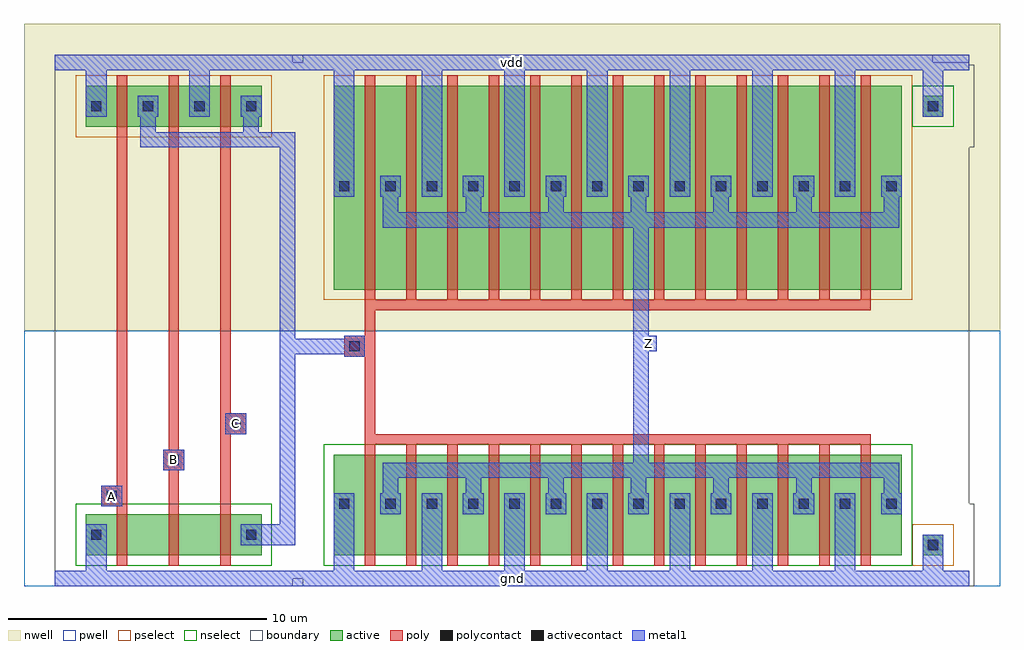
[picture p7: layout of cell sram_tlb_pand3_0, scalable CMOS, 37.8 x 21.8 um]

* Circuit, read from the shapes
.subckt sram_tlb_pand3_0 A B C Z gnd vdd
M1 sram_tlb_pnand3_0_0/sram_tlb_nmos_m1_w1_600_sm1_dactive_3/D A gnd gnd nfet w=1.6u l=0.4u
M2 sram_tlb_pnand3_0_0/sram_tlb_nmos_m1_w1_600_sactive_dactive_4/D B sram_tlb_pnand3_0_0/sram_tlb_nmos_m1_w1_600_sm1_dactive_3/D gnd nfet w=1.6u l=0.4u
M3 sram_tlb_pdriver_3_1/A C sram_tlb_pnand3_0_0/sram_tlb_nmos_m1_w1_600_sactive_dactive_4/D gnd nfet w=1.6u l=0.4u
M4 Z sram_tlb_pdriver_3_1/A gnd gnd nfet w=3.9u l=0.4u m=13
M5 sram_tlb_pdriver_3_1/A A vdd vdd pfet w=1.6u l=0.4u
M6 vdd B sram_tlb_pdriver_3_1/A vdd pfet w=1.6u l=0.4u
M7 sram_tlb_pdriver_3_1/A C vdd vdd pfet w=1.6u l=0.4u
M8 Z sram_tlb_pdriver_3_1/A vdd vdd pfet w=7.9u l=0.4u m=13
.ends

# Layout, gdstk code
import gdstk
lib = gdstk.Library(unit=1e-6, precision=1e-09)
def R(c, l, rs):  # rectangles x0, y0, x1, y1
    for r in rs: c.add(gdstk.rectangle(r[:2], r[2:], *l))
def A(c, l, x, y, w, h, nx, ny, dx, dy):  # array of equal rectangles
    R(c, l, [(x+i*dx, y+j*dy, x+i*dx+w, y+j*dy+h) for i in range(nx) for j in range(ny)])
pwell = (41, 0)
nwell = (42, 0)
active = (43, 0)
pselect = (44, 0)
nselect = (45, 0)
poly = (46, 0)
polycontact = (47, 0)
activecontact = (48, 0)
metal1 = (49, 0)
boundary = (63, 0)

sram_tlb_contact_11 = lib.new_cell('sram_tlb_contact_11')
R(sram_tlb_contact_11, nwell, [(-1.2,-1.2,2,2)])
R(sram_tlb_contact_11, active, [(0,0,0.8,0.8)])
R(sram_tlb_contact_11, pselect, [(-0.4,-0.4,1.2,1.2)])
R(sram_tlb_contact_11, activecontact, [(0.2,0.2,0.6,0.6)])
R(sram_tlb_contact_11, metal1, [(0,0,0.8,0.8)])
R(sram_tlb_contact_11, boundary, [(-1.2,-1.2,2,2)])

sram_tlb_pmos_m1_w1_600_ = lib.new_cell('sram_tlb_pmos_m1_w1_600_sm1_dm1')
R(sram_tlb_pmos_m1_w1_600_, nwell, [(-1.2,-1.2,4,2.8)])
R(sram_tlb_pmos_m1_w1_600_, active, [(0,0,2.8,1.6)])
R(sram_tlb_pmos_m1_w1_600_, pselect, [(-0.4,-0.4,3.2,2)])
R(sram_tlb_pmos_m1_w1_600_, poly, [(1.2,-0.4,1.6,2), (1.2,-0.4,1.6,2)])
R(sram_tlb_pmos_m1_w1_600_, metal1, [(0,0.4,0.8,1.2), (2,0.4,2.8,1.2)])
R(sram_tlb_pmos_m1_w1_600_, boundary, [(-1.2,-1.2,4,2.8)])
sram_tlb_pmos_m1_w1_600_.add(gdstk.Reference(sram_tlb_contact_11, (0,0.4)))
sram_tlb_pmos_m1_w1_600_.add(gdstk.Reference(sram_tlb_contact_11, (2,0.4)))
sram_tlb_pmos_m1_w1_600_.add(gdstk.Label('G', (1.4,0.8), layer=46, texttype=0))
sram_tlb_pmos_m1_w1_600_.add(gdstk.Label('S', (0.4,0.8), layer=49, texttype=0))
sram_tlb_pmos_m1_w1_600_.add(gdstk.Label('D', (2.4,0.8), layer=49, texttype=0))

sram_tlb_contact_10 = lib.new_cell('sram_tlb_contact_10')
R(sram_tlb_contact_10, pwell, [(-1.2,-1.2,2,2)])
R(sram_tlb_contact_10, active, [(0,0,0.8,0.8)])
R(sram_tlb_contact_10, nselect, [(-0.4,-0.4,1.2,1.2)])
R(sram_tlb_contact_10, activecontact, [(0.2,0.2,0.6,0.6)])
R(sram_tlb_contact_10, metal1, [(0,0,0.8,0.8)])
R(sram_tlb_contact_10, boundary, [(-1.2,-1.2,2,2)])

sram_tlb_nmos_m1_w1_600_ = lib.new_cell('sram_tlb_nmos_m1_w1_600_sm1_dactive')
R(sram_tlb_nmos_m1_w1_600_, pwell, [(-1.2,-1.2,4,2.8)])
R(sram_tlb_nmos_m1_w1_600_, active, [(0,0,2.8,1.6), (2.1,0.5,2.7,1.1)])
R(sram_tlb_nmos_m1_w1_600_, nselect, [(-0.4,-0.4,3.2,2)])
R(sram_tlb_nmos_m1_w1_600_, poly, [(1.2,-0.4,1.6,2), (1.2,-0.4,1.6,2)])
R(sram_tlb_nmos_m1_w1_600_, metal1, [(0,0.4,0.8,1.2)])
R(sram_tlb_nmos_m1_w1_600_, boundary, [(-1.2,-1.2,4,2.8)])
sram_tlb_nmos_m1_w1_600_.add(gdstk.Reference(sram_tlb_contact_10, (0,0.4)))
sram_tlb_nmos_m1_w1_600_.add(gdstk.Label('G', (1.4,0.8), layer=46, texttype=0))
sram_tlb_nmos_m1_w1_600_.add(gdstk.Label('S', (0.4,0.8), layer=49, texttype=0))
sram_tlb_nmos_m1_w1_600_.add(gdstk.Label('D', (2.4,0.8), layer=43, texttype=0))

c_sram_tlb_nmos_m1_w1_600_ = lib.new_cell('sram_tlb_nmos_m1_w1_600_sactive_dactive')
R(c_sram_tlb_nmos_m1_w1_600_, pwell, [(-1.2,-1.2,4,2.8)])
R(c_sram_tlb_nmos_m1_w1_600_, active, [(0,0,2.8,1.6), (0.1,0.5,0.7,1.1), (2.1,0.5,2.7,1.1)])
R(c_sram_tlb_nmos_m1_w1_600_, nselect, [(-0.4,-0.4,3.2,2)])
R(c_sram_tlb_nmos_m1_w1_600_, poly, [(1.2,-0.4,1.6,2), (1.2,-0.4,1.6,2)])
R(c_sram_tlb_nmos_m1_w1_600_, boundary, [(-1.2,-1.2,4,2.8)])
c_sram_tlb_nmos_m1_w1_600_.add(gdstk.Label('G', (1.4,0.8), layer=46, texttype=0))
c_sram_tlb_nmos_m1_w1_600_.add(gdstk.Label('S', (0.4,0.8), layer=43, texttype=0))
c_sram_tlb_nmos_m1_w1_600_.add(gdstk.Label('D', (2.4,0.8), layer=43, texttype=0))

c_sram_tlb_nmos_m1_w1_600__ = lib.new_cell('sram_tlb_nmos_m1_w1_600_sactive_dm1')
R(c_sram_tlb_nmos_m1_w1_600__, pwell, [(-1.2,-1.2,4,2.8)])
R(c_sram_tlb_nmos_m1_w1_600__, active, [(0,0,2.8,1.6), (0.1,0.5,0.7,1.1)])
R(c_sram_tlb_nmos_m1_w1_600__, nselect, [(-0.4,-0.4,3.2,2)])
R(c_sram_tlb_nmos_m1_w1_600__, poly, [(1.2,-0.4,1.6,2), (1.2,-0.4,1.6,2)])
R(c_sram_tlb_nmos_m1_w1_600__, metal1, [(2,0.4,2.8,1.2)])
R(c_sram_tlb_nmos_m1_w1_600__, boundary, [(-1.2,-1.2,4,2.8)])
c_sram_tlb_nmos_m1_w1_600__.add(gdstk.Reference(sram_tlb_contact_10, (2,0.4)))
c_sram_tlb_nmos_m1_w1_600__.add(gdstk.Label('G', (1.4,0.8), layer=46, texttype=0))
c_sram_tlb_nmos_m1_w1_600__.add(gdstk.Label('S', (0.4,0.8), layer=43, texttype=0))
c_sram_tlb_nmos_m1_w1_600__.add(gdstk.Label('D', (2.4,0.8), layer=49, texttype=0))

sram_tlb_contact_14 = lib.new_cell('sram_tlb_contact_14')
R(sram_tlb_contact_14, poly, [(0,0,0.8,0.8)])
R(sram_tlb_contact_14, polycontact, [(0.2,0.2,0.6,0.6)])
R(sram_tlb_contact_14, metal1, [(0,0,0.8,0.8)])
R(sram_tlb_contact_14, boundary, [(0,0,0.8,0.8)])

sram_tlb_pnand3_0 = lib.new_cell('sram_tlb_pnand3_0')
R(sram_tlb_pnand3_0, pwell, [(-1.2,-0.3,10.8,9.6)])
R(sram_tlb_pnand3_0, nwell, [(-1.2,9.6,10.8,21.5)])
A(sram_tlb_pnand3_0, poly, 2.4, 2.9, 0.4, 14.2, 3, 1, 2, 0)
R(sram_tlb_pnand3_0, poly, [(2.2,2.8,2.4,3.6), (4.4,4.2,4.6,5), (6.4,5.6,7,6.4)])
R(sram_tlb_pnand3_0, metal1, [(0,-0.3,9.6,0.3), (1.2,-0.3,2,1.3), (7.6,1.3,9,2.1), (8.7,1.3,9.3,17), (1.8,2.8,2.6,3.6), (4.2,4.2,5,5), (6.6,5.6,7.4,6.4), (3.3,16.7,3.9,17.3), (3.6,16.7,9,17.3), (7.3,16.7,7.9,17.3), (7.6,16.7,9,17.3), (8.7,16.7,9.3,17.3), (3.3,17,3.9,18.3), (7.3,17,7.9,18.3), (1.2,17.9,2,20.3), (5.2,17.9,6,20.3), (0,19.7,9.6,20.3)])
R(sram_tlb_pnand3_0, boundary, [(0,0,9.6,20), (0,0,9.6,20)])
sram_tlb_pnand3_0.add(gdstk.Reference(sram_tlb_pmos_m1_w1_600_, (1.2,17.5)))
sram_tlb_pnand3_0.add(gdstk.Reference(sram_tlb_pmos_m1_w1_600_, (3.2,17.5)))
sram_tlb_pnand3_0.add(gdstk.Reference(sram_tlb_pmos_m1_w1_600_, (5.2,17.5)))
sram_tlb_pnand3_0.add(gdstk.Reference(sram_tlb_nmos_m1_w1_600_, (1.2,0.9)))
sram_tlb_pnand3_0.add(gdstk.Reference(c_sram_tlb_nmos_m1_w1_600_, (3.2,0.9)))
sram_tlb_pnand3_0.add(gdstk.Reference(c_sram_tlb_nmos_m1_w1_600__, (5.2,0.9)))
sram_tlb_pnand3_0.add(gdstk.Reference(sram_tlb_contact_14, (1.8,2.8)))
sram_tlb_pnand3_0.add(gdstk.Reference(sram_tlb_contact_14, (4.2,4.2)))
sram_tlb_pnand3_0.add(gdstk.Reference(sram_tlb_contact_14, (6.6,5.6)))
sram_tlb_pnand3_0.add(gdstk.Label('A', (2.2,3.2), layer=49, texttype=0))
sram_tlb_pnand3_0.add(gdstk.Label('B', (4.6,4.6), layer=49, texttype=0))
sram_tlb_pnand3_0.add(gdstk.Label('C', (7,6), layer=49, texttype=0))
sram_tlb_pnand3_0.add(gdstk.Label('Z', (9,17), layer=49, texttype=0))
sram_tlb_pnand3_0.add(gdstk.Label('gnd', (4.8,0), layer=49, texttype=0))
sram_tlb_pnand3_0.add(gdstk.Label('vdd', (4.8,20), layer=49, texttype=0))

sram_tlb_pmos_m13_w7_900 = lib.new_cell('sram_tlb_pmos_m13_w7_900_sm1_dm1_da_p')
R(sram_tlb_pmos_m13_w7_900, nwell, [(-1.2,-1.2,23.2,9.1)])
R(sram_tlb_pmos_m13_w7_900, active, [(0,0,22,7.9)])
R(sram_tlb_pmos_m13_w7_900, pselect, [(-0.4,-0.4,22.4,8.3)])
A(sram_tlb_pmos_m13_w7_900, poly, 1.2, -0.4, 0.4, 8.7, 13, 1, 1.6, 0)
R(sram_tlb_pmos_m13_w7_900, poly, [(1.2,-0.8,20.8,-0.4)])
A(sram_tlb_pmos_m13_w7_900, metal1, 1.9, 2.6, 0.6, 1.4, 6, 1, 3.2, 0)
A(sram_tlb_pmos_m13_w7_900, metal1, 3.4, 3.6, 0.8, 0.8, 6, 1, 3.2, 0)
R(sram_tlb_pmos_m13_w7_900, metal1, [(1.9,2.4,21.9,3), (21.3,2.6,21.9,4), (0,3.6,0.8,4.4)])
R(sram_tlb_pmos_m13_w7_900, boundary, [(-1.2,-1.2,23.2,9.1)])
sram_tlb_pmos_m13_w7_900.add(gdstk.Reference(sram_tlb_contact_11, (0,3.6)))
sram_tlb_pmos_m13_w7_900.add(gdstk.Reference(sram_tlb_contact_11, (1.8,3.6)))
sram_tlb_pmos_m13_w7_900.add(gdstk.Reference(sram_tlb_contact_11, (3.4,3.6)))
sram_tlb_pmos_m13_w7_900.add(gdstk.Reference(sram_tlb_contact_11, (5,3.6)))
sram_tlb_pmos_m13_w7_900.add(gdstk.Reference(sram_tlb_contact_11, (6.6,3.6)))
sram_tlb_pmos_m13_w7_900.add(gdstk.Reference(sram_tlb_contact_11, (8.2,3.6)))
sram_tlb_pmos_m13_w7_900.add(gdstk.Reference(sram_tlb_contact_11, (9.8,3.6)))
sram_tlb_pmos_m13_w7_900.add(gdstk.Reference(sram_tlb_contact_11, (11.4,3.6)))
sram_tlb_pmos_m13_w7_900.add(gdstk.Reference(sram_tlb_contact_11, (13,3.6)))
sram_tlb_pmos_m13_w7_900.add(gdstk.Reference(sram_tlb_contact_11, (14.6,3.6)))
sram_tlb_pmos_m13_w7_900.add(gdstk.Reference(sram_tlb_contact_11, (16.2,3.6)))
sram_tlb_pmos_m13_w7_900.add(gdstk.Reference(sram_tlb_contact_11, (17.8,3.6)))
sram_tlb_pmos_m13_w7_900.add(gdstk.Reference(sram_tlb_contact_11, (19.4,3.6)))
sram_tlb_pmos_m13_w7_900.add(gdstk.Reference(sram_tlb_contact_11, (21.2,3.6)))
sram_tlb_pmos_m13_w7_900.add(gdstk.Label('G', (11,-0.6), layer=46, texttype=0))
sram_tlb_pmos_m13_w7_900.add(gdstk.Label('S', (16.6,4), layer=49, texttype=0))
sram_tlb_pmos_m13_w7_900.add(gdstk.Label('S', (3.8,4), layer=49, texttype=0))
sram_tlb_pmos_m13_w7_900.add(gdstk.Label('S', (13.4,4), layer=49, texttype=0))
sram_tlb_pmos_m13_w7_900.add(gdstk.Label('S', (19.8,4), layer=49, texttype=0))
sram_tlb_pmos_m13_w7_900.add(gdstk.Label('S', (0.4,4), layer=49, texttype=0))
sram_tlb_pmos_m13_w7_900.add(gdstk.Label('S', (10.2,4), layer=49, texttype=0))
sram_tlb_pmos_m13_w7_900.add(gdstk.Label('S', (7,4), layer=49, texttype=0))
sram_tlb_pmos_m13_w7_900.add(gdstk.Label('D', (11.9,2.7), layer=49, texttype=0))

sram_tlb_nmos_m13_w3_900 = lib.new_cell('sram_tlb_nmos_m13_w3_900_sm1_dm1_da_p')
R(sram_tlb_nmos_m13_w3_900, pwell, [(-1.2,-1.2,23.2,5.1)])
R(sram_tlb_nmos_m13_w3_900, active, [(0,0,22,3.9)])
R(sram_tlb_nmos_m13_w3_900, nselect, [(-0.4,-0.4,22.4,4.3)])
A(sram_tlb_nmos_m13_w3_900, poly, 1.2, -0.4, 0.4, 4.7, 13, 1, 1.6, 0)
R(sram_tlb_nmos_m13_w3_900, poly, [(1.2,4.3,20.8,4.7)])
A(sram_tlb_nmos_m13_w3_900, metal1, 3.4, 1.6, 0.8, 0.8, 6, 1, 3.2, 0)
A(sram_tlb_nmos_m13_w3_900, metal1, 1.9, 2, 0.6, 1.2, 6, 1, 3.2, 0)
R(sram_tlb_nmos_m13_w3_900, metal1, [(0,1.6,0.8,2.4), (21.3,2,21.9,3.2), (1.9,3,21.9,3.6)])
R(sram_tlb_nmos_m13_w3_900, boundary, [(-1.2,-1.2,23.2,5.1)])
sram_tlb_nmos_m13_w3_900.add(gdstk.Reference(sram_tlb_contact_10, (0,1.6)))
sram_tlb_nmos_m13_w3_900.add(gdstk.Reference(sram_tlb_contact_10, (1.8,1.6)))
sram_tlb_nmos_m13_w3_900.add(gdstk.Reference(sram_tlb_contact_10, (3.4,1.6)))
sram_tlb_nmos_m13_w3_900.add(gdstk.Reference(sram_tlb_contact_10, (5,1.6)))
sram_tlb_nmos_m13_w3_900.add(gdstk.Reference(sram_tlb_contact_10, (6.6,1.6)))
sram_tlb_nmos_m13_w3_900.add(gdstk.Reference(sram_tlb_contact_10, (8.2,1.6)))
sram_tlb_nmos_m13_w3_900.add(gdstk.Reference(sram_tlb_contact_10, (9.8,1.6)))
sram_tlb_nmos_m13_w3_900.add(gdstk.Reference(sram_tlb_contact_10, (11.4,1.6)))
sram_tlb_nmos_m13_w3_900.add(gdstk.Reference(sram_tlb_contact_10, (13,1.6)))
sram_tlb_nmos_m13_w3_900.add(gdstk.Reference(sram_tlb_contact_10, (14.6,1.6)))
sram_tlb_nmos_m13_w3_900.add(gdstk.Reference(sram_tlb_contact_10, (16.2,1.6)))
sram_tlb_nmos_m13_w3_900.add(gdstk.Reference(sram_tlb_contact_10, (17.8,1.6)))
sram_tlb_nmos_m13_w3_900.add(gdstk.Reference(sram_tlb_contact_10, (19.4,1.6)))
sram_tlb_nmos_m13_w3_900.add(gdstk.Reference(sram_tlb_contact_10, (21.2,1.6)))
sram_tlb_nmos_m13_w3_900.add(gdstk.Label('G', (11,4.5), layer=46, texttype=0))
sram_tlb_nmos_m13_w3_900.add(gdstk.Label('S', (19.8,2), layer=49, texttype=0))
sram_tlb_nmos_m13_w3_900.add(gdstk.Label('S', (0.4,2), layer=49, texttype=0))
sram_tlb_nmos_m13_w3_900.add(gdstk.Label('S', (3.8,2), layer=49, texttype=0))
sram_tlb_nmos_m13_w3_900.add(gdstk.Label('S', (16.6,2), layer=49, texttype=0))
sram_tlb_nmos_m13_w3_900.add(gdstk.Label('S', (13.4,2), layer=49, texttype=0))
sram_tlb_nmos_m13_w3_900.add(gdstk.Label('S', (10.2,2), layer=49, texttype=0))
sram_tlb_nmos_m13_w3_900.add(gdstk.Label('S', (7,2), layer=49, texttype=0))
sram_tlb_nmos_m13_w3_900.add(gdstk.Label('D', (11.9,3.3), layer=49, texttype=0))

sram_tlb_contact_12 = lib.new_cell('sram_tlb_contact_12')
R(sram_tlb_contact_12, nwell, [(-1.2,-1.2,2,2)])
R(sram_tlb_contact_12, active, [(0,0,0.8,0.8)])
R(sram_tlb_contact_12, nselect, [(-0.4,-0.4,1.2,1.2)])
R(sram_tlb_contact_12, activecontact, [(0.2,0.2,0.6,0.6)])
R(sram_tlb_contact_12, metal1, [(0,0,0.8,0.8)])
R(sram_tlb_contact_12, boundary, [(-1.2,-1.2,2,2)])

sram_tlb_contact_13 = lib.new_cell('sram_tlb_contact_13')
R(sram_tlb_contact_13, pwell, [(-1.2,-1.2,2,2)])
R(sram_tlb_contact_13, active, [(0,0,0.8,0.8)])
R(sram_tlb_contact_13, pselect, [(-0.4,-0.4,1.2,1.2)])
R(sram_tlb_contact_13, activecontact, [(0.2,0.2,0.6,0.6)])
R(sram_tlb_contact_13, metal1, [(0,0,0.8,0.8)])
R(sram_tlb_contact_13, boundary, [(-1.2,-1.2,2,2)])

sram_tlb_pinv_15 = lib.new_cell('sram_tlb_pinv_15')
R(sram_tlb_pinv_15, pwell, [(-1.2,-0.3,27,9.6)])
R(sram_tlb_pinv_15, nwell, [(-1.2,9.6,27,21.5)])
R(sram_tlb_pinv_15, poly, [(2.4,5.6,2.8,10.4), (2,8.6,2.4,9.4)])
A(sram_tlb_pinv_15, metal1, 4.6, -0.3, 0.8, 2.8, 6, 1, 3.2, 0)
A(sram_tlb_pinv_15, metal1, 4.6, 14.8, 0.8, 5.5, 6, 1, 3.2, 0)
R(sram_tlb_pinv_15, metal1, [(0,-0.3,25.8,0.3), (1.2,-0.3,2,2.5), (24,0,24.8,1.3), (12.8,3.9,13.4,14.2), (1.6,8.6,2.4,9.4), (13.1,8.8,13.7,9.4), (1.2,14.8,2,20.3), (24,18.3,24.8,20), (0,19.7,25.8,20.3)])
R(sram_tlb_pinv_15, boundary, [(0,0,25.8,20), (0,0,25.8,20)])
sram_tlb_pinv_15.add(gdstk.Reference(sram_tlb_pmos_m13_w7_900, (1.2,11.2)))
sram_tlb_pinv_15.add(gdstk.Reference(sram_tlb_nmos_m13_w3_900, (1.2,0.9)))
sram_tlb_pinv_15.add(gdstk.Reference(sram_tlb_contact_12, (24,17.9)))
sram_tlb_pinv_15.add(gdstk.Reference(sram_tlb_contact_13, (24,0.9)))
sram_tlb_pinv_15.add(gdstk.Reference(sram_tlb_contact_14, (1.6,8.6)))
sram_tlb_pinv_15.add(gdstk.Label('A', (2,9), layer=49, texttype=0))
sram_tlb_pinv_15.add(gdstk.Label('Z', (13.4,9.1), layer=49, texttype=0))
sram_tlb_pinv_15.add(gdstk.Label('gnd', (12.9,0), layer=49, texttype=0))
sram_tlb_pinv_15.add(gdstk.Label('vdd', (12.9,20), layer=49, texttype=0))

sram_tlb_pdriver_3 = lib.new_cell('sram_tlb_pdriver_3')
R(sram_tlb_pdriver_3, pwell, [(-1.2,-0.3,27,9.6)])
R(sram_tlb_pdriver_3, nwell, [(-1.2,9.6,27,21.5)])
R(sram_tlb_pdriver_3, metal1, [(0,-0.3,25.8,0.3), (1.6,8.6,2.4,9.4), (13.1,8.8,13.7,9.4), (0,19.7,25.8,20.3)])
R(sram_tlb_pdriver_3, boundary, [(0,0,25.8,20), (0,0,25.8,20)])
sram_tlb_pdriver_3.add(gdstk.Reference(sram_tlb_pinv_15, (0,0)))
sram_tlb_pdriver_3.add(gdstk.Label('Z', (13.4,9.1), layer=49, texttype=0))
sram_tlb_pdriver_3.add(gdstk.Label('A', (2,9), layer=49, texttype=0))
sram_tlb_pdriver_3.add(gdstk.Label('gnd', (12.9,0), layer=49, texttype=0))
sram_tlb_pdriver_3.add(gdstk.Label('vdd', (12.9,20), layer=49, texttype=0))

sram_tlb_pand3_0 = lib.new_cell('sram_tlb_pand3_0')
R(sram_tlb_pand3_0, metal1, [(0,-0.3,35.4,0.3), (1.8,2.8,2.6,3.6), (4.2,4.2,5,5), (6.6,5.6,7.4,6.4), (8.7,8.7,9.3,9.3), (9,8.7,11.6,9.3), (22.7,8.8,23.3,9.4), (8.7,9,9.3,17), (0,19.7,35.4,20.3)])
R(sram_tlb_pand3_0, boundary, [(0,0,35.4,20), (0,0,35.4,20)])
sram_tlb_pand3_0.add(gdstk.Reference(sram_tlb_pnand3_0, (0,0)))
sram_tlb_pand3_0.add(gdstk.Reference(sram_tlb_pdriver_3, (9.6,0)))
sram_tlb_pand3_0.add(gdstk.Label('Z', (23,9.1), layer=49, texttype=0))
sram_tlb_pand3_0.add(gdstk.Label('A', (2.2,3.2), layer=49, texttype=0))
sram_tlb_pand3_0.add(gdstk.Label('B', (4.6,4.6), layer=49, texttype=0))
sram_tlb_pand3_0.add(gdstk.Label('C', (7,6), layer=49, texttype=0))
sram_tlb_pand3_0.add(gdstk.Label('gnd', (17.7,0), layer=49, texttype=0))
sram_tlb_pand3_0.add(gdstk.Label('vdd', (17.7,20), layer=49, texttype=0))

lib.write_gds('sram_tlb_pand3_0.gds')
